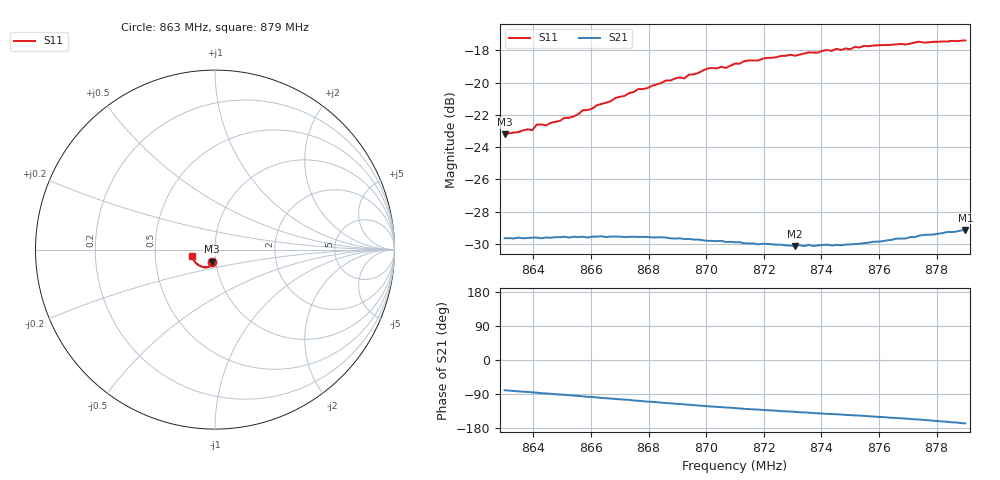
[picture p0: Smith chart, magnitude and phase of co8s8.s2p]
# HZ S RI R 50
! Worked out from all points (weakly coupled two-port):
!   101 points, 863 MHz to 879 MHz, reference 50 ohm
!   highest |S21| = -29.14 dB at 879 MHz (marker M1); lowest = -30.1 dB at 873.08 MHz (marker M2)
!   lowest |S11| = -23.2 dB at 863 MHz (marker M3), VSWR 1.15, Z = 47.9 - j6.42 ohm
!   |S11| at or under -10 dB: start of sweep to end of sweep
!   S12 and S22 are empty: the file has one direction only
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8.63e8  -0.0175 -0.0668  0.00587 -0.0324  0 0  0 0
8.6396e8  -0.0158 -0.0694  0.00264 -0.0329  0 0  0 0
8.6412e8  -0.0183 -0.0718  0.00221 -0.033  0 0  0 0
8.6444e8  -0.0157 -0.072  0.00101 -0.0331  0 0  0 0
8.654e8  -0.0179 -0.0765  -0.00227 -0.0332  0 0  0 0
8.6572e8  -0.0173 -0.0802  -0.0034 -0.0331  0 0  0 0
8.6604e8  -0.0187 -0.0809  -0.00443 -0.033  0 0  0 0
8.6764e8  -0.0272 -0.0915  -0.01 -0.0317  0 0  0 0
8.6844e8  -0.0323 -0.0943  -0.0126 -0.0306  0 0  0 0
8.6908e8  -0.0384 -0.0964  -0.0145 -0.0295  0 0  0 0
8.6924e8  -0.0381 -0.0957  -0.0149 -0.0291  0 0  0 0
8.694e8  -0.0402 -0.0979  -0.0154 -0.0289  0 0  0 0
8.7004e8  -0.0471 -0.0999  -0.0171 -0.0274  0 0  0 0
8.7068e8  -0.0519 -0.0982  -0.0185 -0.0261  0 0  0 0
8.71e8  -0.0572 -0.0992  -0.0192 -0.0256  0 0  0 0
8.7292e8  -0.0769 -0.0947  -0.0225 -0.0217  0 0  0 0
8.7308e8  -0.0779 -0.0926  -0.0226 -0.0213  0 0  0 0
8.7372e8  -0.0848 -0.0902  -0.0239 -0.02  0 0  0 0
8.75e8  -0.0979 -0.0807  -0.0259 -0.0179  0 0  0 0
8.7548e8  -0.1042 -0.0777  -0.0268 -0.0171  0 0  0 0
8.7644e8  -0.1117 -0.0685  -0.0289 -0.015  0 0  0 0
8.79e8  -0.1295 -0.0382  -0.0341 -0.00765  0 0  0 0
